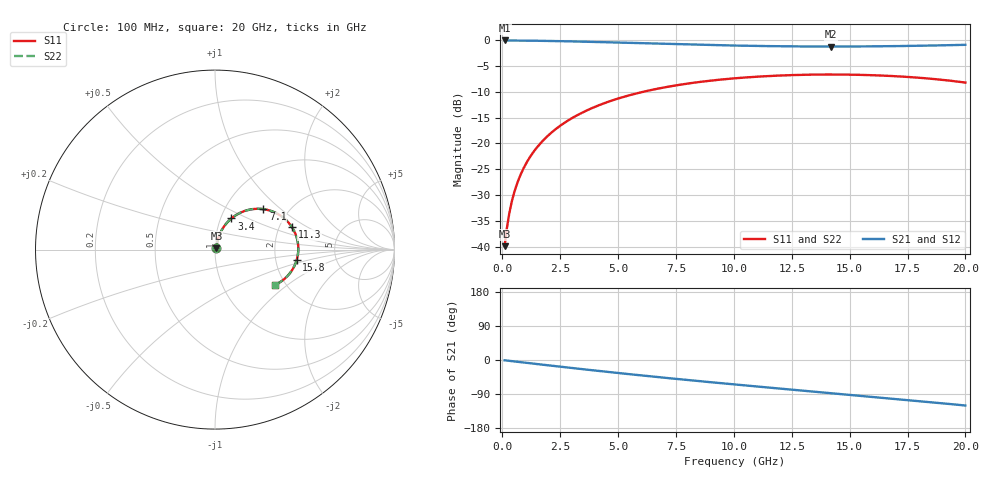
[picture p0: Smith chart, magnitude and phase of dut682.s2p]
! Touchstone file exported from HFSS 2026.1.0
!  File:  C:/ffzhzh/LocalFiles/Ansys_Project_Files/temp_train_TSV_RDL_682_1783133867_46604.aedt
!  Generated:  11:07:24 AM Jul  4, 2026
!  Design:  TSV_RDL
!  Project:  temp_train_TSV_RDL_682_1783133867_46604
! Variables:
!  h_bsmrdl = 4.92um
!  h_ox = 20um
!  h_rdl = 5um
!  h_sub = 92.15um
!  h_tmrdl = 5.06um
!  h_tsv = 92.15um
!  h_via = 3um
!  l_bsmrdl = 238.65um
!  l_sub = 1771.88um
!  l_tmrdl = 137.68um
!  m_sub = 200um
!  pitch = 57.04um
!  r_tsv = 14.01um
!  s_tmrdl = 10um
!  w_bsmrdl = 10.69um
!  w_sub = 500um
!  w_tmrdl = 24.38um
!  x_tsv_center1 = 149.87um
!  x_tsv_center2 = 399.21um
!  x_tsv_center3 = 561.27um
!  x_tsv_center4 = 810.61um
!  x_tsv_center5 = 972.67um
!  x_tsv_center6 = 1222.01um
# GHz S MA R 50.000000
! Terminal data exported
! Port[1] = TM_RDL1_1_T1
! Port[2] = TM_RDL5_1_T1
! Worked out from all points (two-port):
!   200 points, 100 MHz to 20 GHz, reference 50 ohm
!   highest |S21| = -0.07 dB at 100 MHz (marker M1); lowest = -1.2 dB at 14.2 GHz (marker M2)
!   |S21| within 3 dB of the highest: start of sweep to end of sweep
!   lowest |S11| = -39.9 dB at 100 MHz (marker M3), VSWR 1.02, Z = 50.8 + j0.654 ohm
!   |S11| at or under -10 dB: start of sweep to 6.098 GHz
!   |S22| runs from -39.9 to -6.7 dB; largest |S21 - S12| = 1.6e-13
!   S11 on the Smith chart (normalised r, x): 100 MHz: 1.02, +0.01; 3.4 GHz: 1.12, +0.40; 7.1 GHz: 1.50, +0.77; 11.3 GHz: 2.34, +0.73; 15.8 GHz: 2.62, -0.40; 20 GHz: 1.76, -0.82
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0.1  0.01009 39.6  0.9923 -0.7  0.9923 -0.7  0.01009 39.6
! Gamma 0 0 0 0
! Port Impedance 50 0 50 0
0.2  0.01518 56.9  0.992 -1.5  0.992 -1.5  0.01518 56.9
0.3  0.02086 64.5  0.9916 -2.2  0.9916 -2.2  0.02086 64.5
0.5  0.03254 70.8  0.9908 -3.6  0.9908 -3.6  0.03254 70.8
0.8  0.05027 73.6  0.9895 -5.8  0.9895 -5.8  0.05027 73.6
1.1  0.06801 73.9  0.988 -7.9  0.988 -7.9  0.06801 73.9
1.5  0.09143 72.8  0.9855 -10.7  0.9855 -10.7  0.09143 72.8
2  0.1201 70.5  0.9816 -14.2  0.9816 -14.2  0.1201 70.5
2.6  0.1535 67.1  0.976 -18.3  0.976 -18.3  0.1535 67.1
3.4  0.1958 62.3  0.9672 -23.8  0.9672 -23.8  0.1958 62.3
3.5  0.2009 61.7  0.966 -24.4  0.966 -24.4  0.2009 61.7
5  0.2716 52.4  0.9467 -34.3  0.9467 -34.3  0.2716 52.4
6.8  0.3416 41.6  0.9224 -45.6  0.9224 -45.6  0.3416 41.6
7.1  0.3516 39.8  0.9185 -47.4  0.9185 -47.4  0.3516 39.8
10.1  0.4277 22.9  0.8851 -64.9  0.8851 -64.9  0.4277 22.9
11.3  0.4462 16.4  0.876 -71.6  0.876 -71.6  0.4462 16.4
13.4  0.463 5.2  0.8673 -83.1  0.8673 -83.1  0.463 5.2
14.2  0.4643 1.0  0.8665 -87.5  0.8665 -87.5  0.4643 1.0
15.8  0.4586 -7.5  0.8692 -96.2  0.8692 -96.2  0.4586 -7.5
16.7  0.4503 -12.3  0.8732 -101.2  0.8732 -101.2  0.4503 -12.3
18.4  0.4246 -21.6  0.8849 -110.8  0.8849 -110.8  0.4246 -21.6
20  0.3877 -30.5  0.9002 -120.1  0.9002 -120.1  0.3877 -30.5
